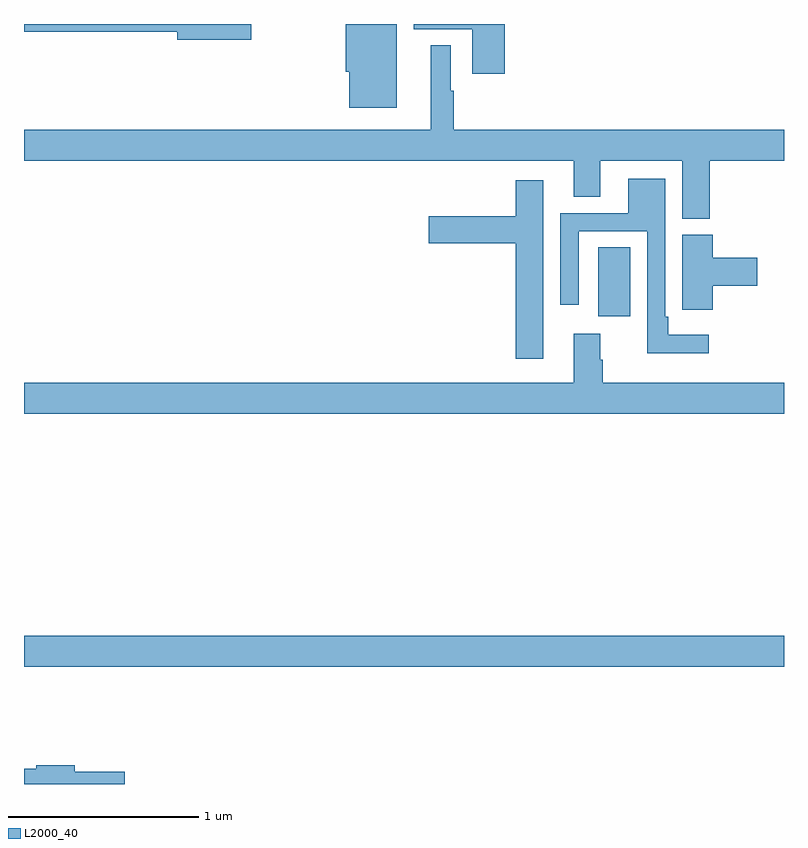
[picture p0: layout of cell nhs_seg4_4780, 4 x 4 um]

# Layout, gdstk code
import gdstk
lib = gdstk.Library(unit=1e-6, precision=1e-09)
def R(c, l, rs):  # rectangles x0, y0, x1, y1
    for r in rs: c.add(gdstk.rectangle(r[:2], r[2:], *l))
def P(c, l, *ps):  # polygons
    for p in ps: c.add(gdstk.Polygon(p, *l))
L2000_40 = (2000, 40)

nhs_seg4_4780 = lib.new_cell('nhs_seg4_4780')
R(nhs_seg4_4780, L2000_40, [(369,767.516,373,767.68), (372.023,769.362,372.19,769.724)])
P(nhs_seg4_4780, L2000_40, [(370.963,770.9),(370.694,770.9),(370.694,770.649),(370.712,770.649),(370.712,770.459),(370.963,770.459)],
  [(371.531,770.9),(371.051,770.9),(371.051,770.873),(371.36,770.873),(371.36,770.637),(371.531,770.637)],
  [(370.195,770.9),(369,770.9),(369,770.86),(369.806,770.86),(369.806,770.818),(370.195,770.818)],
  [(372.608,770.18),(373,770.18),(373,770.344),(371.263,770.344),(371.263,770.549),(371.245,770.549),(371.245,770.788),(371.141,770.788),(371.141,770.344),(369,770.344),(369,770.18),(371.894,770.18),(371.894,769.99),(372.034,769.99),(372.034,770.18),(372.464,770.18),(372.464,769.876),(372.608,769.876)],
  [(372.604,769.264),(372.391,769.264),(372.391,769.36),(372.375,769.36),(372.375,770.086),(372.179,770.086),(372.179,769.905),(371.823,769.905),(371.823,769.422),(371.919,769.422),(371.919,769.809),(372.279,769.809),(372.279,769.166),(372.604,769.166)],
  [(371.734,770.077),(371.588,770.077),(371.588,769.887),(371.13,769.887),(371.13,769.745),(371.588,769.745),(371.588,769.137),(371.734,769.137)],
  [(372.626,769.523),(372.859,769.523),(372.859,769.67),(372.626,769.67),(372.626,769.791),(372.464,769.791),(372.464,769.507),(372.465,769.507),(372.465,769.395),(372.626,769.395)],
  [(373,769.012),(372.047,769.012),(372.047,769.133),(372.034,769.133),(372.034,769.27),(371.894,769.27),(371.894,769.012),(369,769.012),(369,768.848),(373,768.848)],
  [(369.529,766.964),(369.268,766.964),(369.268,767),(369.064,767),(369.064,766.981),(369,766.981),(369,766.9),(369.529,766.9)])

lib.write_gds('nhs_seg4_4780.gds')
